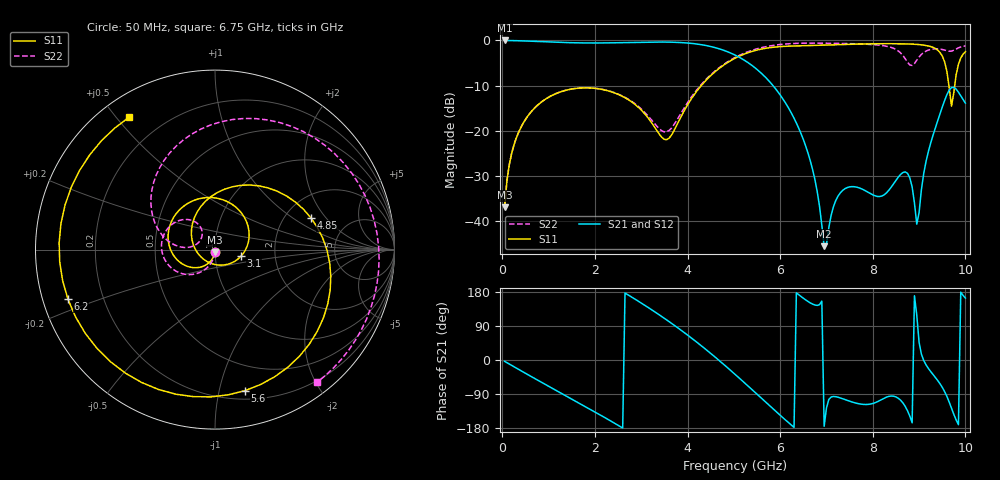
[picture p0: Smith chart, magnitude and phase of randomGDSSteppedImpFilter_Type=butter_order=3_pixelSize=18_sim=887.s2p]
! freq	dB(S11)	phase(S11)	dB(S12)	phase(S12)
!  dB(S21)	phase(S21)	dB(S22)	phase(S22)
!S-par simulation data
#  GHz  S  DB  R 50
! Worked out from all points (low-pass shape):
!   200 points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, 50 MHz to 10 GHz, reference 50 ohm
!   highest |S21| = -0.01 dB at 50 MHz (marker M1); lowest = -45.5 dB at 6.95 GHz (marker M2)
!   |S21| within 3 dB of the highest: start of sweep to 4.978 GHz
!   lowest |S11| = -36.9 dB at 50 MHz (marker M3), VSWR 1.03, Z = 49.9 - j1.42 ohm
!   |S11| at or under -10 dB: start of sweep to 4.296 GHz; 9.644 GHz to 9.77 GHz (125.4 MHz wide, 1.29 % of centre)
!   |S22| runs from -36.9 to -0.6 dB; largest |S21 - S12| = 0
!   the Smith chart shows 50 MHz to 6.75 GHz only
!   S11 on the Smith chart (normalised r, x): 50 MHz: 1.00, -0.03; 3.1 GHz: 1.33, -0.10; 4.85 GHz: 2.76, +1.43; 5.6 GHz: 0.27, -1.20; 6.2 GHz: 0.07, -0.16; 6.75 GHz: 0.08, +0.54
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0.05  -36.94 -92.7  -0.01 -3.6  -0.01 -3.6  -36.90 -91.4
0.5  -17.50 -131.9  -0.13 -35.0  -0.13 -35.0  -17.48 -119.1
1.75  -10.50 124.3  -0.56 -120.0  -0.56 -120.0  -10.48 174.9
3.1  -16.53 -14.6  -0.38 142.5  -0.38 142.5  -16.18 122.8
3.4  -20.88 -73.6  -0.36 118.3  -0.36 118.3  -19.64 134.1
4  -14.27 130.2  -0.58 65.9  -0.58 65.9  -13.77 175.0
4.85  -4.99 18.3  -2.45 -18.9  -2.45 -18.9  -4.84 119.6
5.05  -3.82 -6.8  -3.37 -40.4  -3.37 -40.4  -3.66 101.4
5.6  -1.90 -78.0  -7.32 -101.4  -7.32 -101.4  -1.59 48.4
6.2  -1.26 -161.3  -15.29 -167.3  -15.29 -167.3  -0.73 -7.6
6.7  -1.13 129.6  -28.55 147.5  -28.55 147.5  -0.60 -48.6
6.75  -1.12 123.1  -30.77 145.1  -30.77 145.1  -0.60 -52.4
6.95  -1.05 98.4  -45.52 -174.9  -45.52 -174.9  -0.61 -67.2
7.35  -0.91 55.5  -33.18 -102.2  -33.18 -102.2  -0.68 -94.9
8.35  -0.73 -20.0  -33.11 -95.9  -33.11 -95.9  -1.41 -174.7
8.7  -0.77 -40.3  -29.09 -122.4  -29.09 -122.4  -4.03 104.0
8.9  -0.85 -51.7  -35.95 169.6  -35.95 169.6  -5.09 -11.6
8.95  -0.88 -54.7  -40.65 118.2  -40.65 118.2  -4.37 -37.3
9.1  -1.04 -63.9  -29.45 -1.1  -29.45 -1.1  -2.67 -87.6
9.6  -6.81 -110.4  -12.02 -96.0  -12.02 -96.0  -2.30 -149.6
9.7  -14.55 -78.8  -10.43 -127.2  -10.43 -127.2  -2.37 -152.5
10  -2.50 -55.0  -13.86 163.5  -13.86 163.5  -1.21 -168.1
